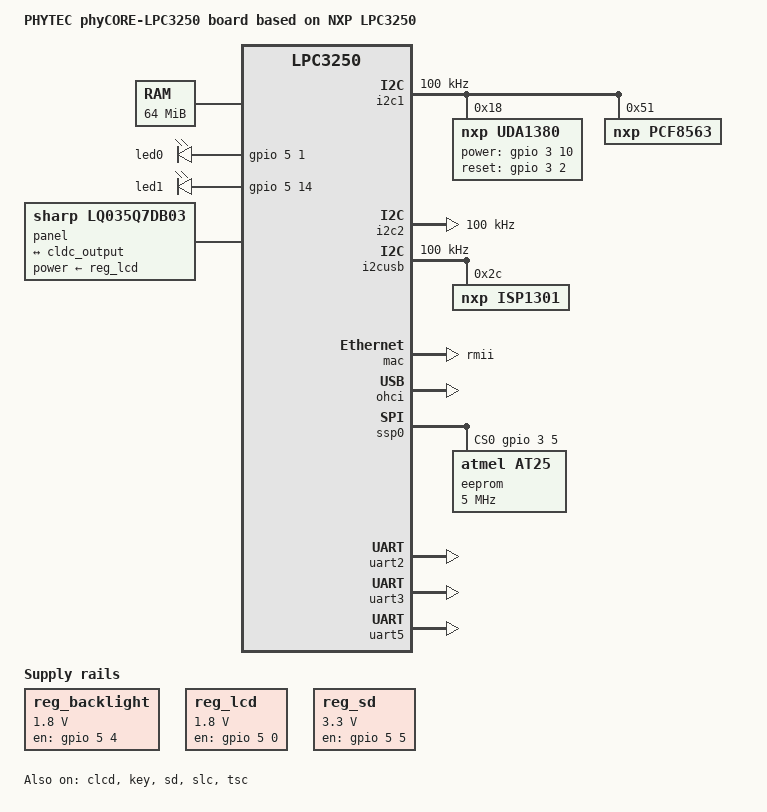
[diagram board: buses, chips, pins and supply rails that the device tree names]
// SPDX-License-Identifier: GPL-2.0-or-later
/*
 * PHYTEC phyCORE-LPC3250 board
 *
 * Copyright (C) 2015-2019 Vladimir Zapolskiy <vz@mleia.com>
 * Copyright 2012 Roland Stigge <stigge@antcom.de>
 */

/dts-v1/;
#include "lpc32xx.dtsi"

/ {
	model = "PHYTEC phyCORE-LPC3250 board based on NXP LPC3250";
	compatible = "phytec,phy3250", "nxp,lpc3250";

	memory@80000000 {
		device_type = "memory";
		reg = <0x80000000 0x4000000>;
	};

	leds {
		compatible = "gpio-leds";

		led0 { /* red */
			gpios = <&gpio 5 1 0>; /* GPO_P3 1, GPIO 80, active high */
			default-state = "off";
		};

		led1 { /* green */
			gpios = <&gpio 5 14 0>; /* GPO_P3 14, GPIO 93, active high */
			linux,default-trigger = "heartbeat";
		};
	};

	panel: panel {
		compatible = "sharp,lq035q7db03";
		power-supply = <&reg_lcd>;

		port {
			panel_input: endpoint {
				remote-endpoint = <&cldc_output>;
			};
		};
	};

	reg_backlight: regulator-backlight {
		compatible = "regulator-fixed";
		regulator-name = "backlight";
		regulator-min-microvolt = <1800000>;
		regulator-max-microvolt = <1800000>;
		gpio = <&gpio 5 4 0>;
		enable-active-high;
		regulator-boot-on;
	};

	reg_lcd: regulator-lcd {
		compatible = "regulator-fixed";
		regulator-name = "lcd";
		regulator-min-microvolt = <1800000>;
		regulator-max-microvolt = <1800000>;
		gpio = <&gpio 5 0 0>;
		enable-active-high;
		regulator-boot-on;
	};

	reg_sd: regulator-sd {
		compatible = "regulator-fixed";
		regulator-name = "sd";
		regulator-min-microvolt = <3300000>;
		regulator-max-microvolt = <3300000>;
		gpio = <&gpio 5 5 0>;
		enable-active-high;
		regulator-boot-on;
	};
};

&clcd {
	max-memory-bandwidth = <18710000>;
	status = "okay";

	port {
		cldc_output: endpoint {
			remote-endpoint = <&panel_input>;
			arm,pl11x,tft-r0g0b0-pads = <0 8 16>;
		};
	};
};

&i2c1 {
	clock-frequency = <100000>;

	uda1380: uda1380@18 {
		compatible = "nxp,uda1380";
		reg = <0x18>;
		power-gpio = <&gpio 3 10 0>;
		reset-gpio = <&gpio 3 2 0>;
		dac-clk = "wspll";
	};

	pcf8563: rtc@51 {
		compatible = "nxp,pcf8563";
		reg = <0x51>;
	};
};

&i2c2 {
	clock-frequency = <100000>;
};

&i2cusb {
	clock-frequency = <100000>;

	isp1301: usb-transceiver@2c {
		compatible = "nxp,isp1301";
		reg = <0x2c>;
	};
};

&key {
	keypad,num-rows = <1>;
	keypad,num-columns = <1>;
	nxp,debounce-delay-ms = <3>;
	nxp,scan-delay-ms = <34>;
	linux,keymap = <0x00000002>;
	status = "okay";
};

&mac {
	phy-mode = "rmii";
	use-iram;
	status = "okay";
};

/* Here, choose exactly one from: ohci, usbd */
&ohci /* &usbd */ {
	transceiver = <&isp1301>;
	status = "okay";
};

&sd {
	wp-gpios = <&gpio 3 0 0>;
	cd-gpios = <&gpio 3 1 0>;
	cd-inverted;
	bus-width = <4>;
	vmmc-supply = <&reg_sd>;
	status = "okay";
};

/* 64MB Flash via SLC NAND controller */
&slc {
	status = "okay";

	nxp,wdr-clks = <14>;
	nxp,wwidth = <40000000>;
	nxp,whold = <100000000>;
	nxp,wsetup = <100000000>;
	nxp,rdr-clks = <14>;
	nxp,rwidth = <40000000>;
	nxp,rhold = <66666666>;
	nxp,rsetup = <100000000>;
	nand-on-flash-bbt;
	gpios = <&gpio 5 19 1>; /* GPO_P3 19, active low */

	partitions {
		compatible = "fixed-partitions";
		#address-cells = <1>;
		#size-cells = <1>;

		mtd0@0 {
			label = "phy3250-boot";
			reg = <0x00000000 0x00064000>;
			read-only;
		};

		mtd1@64000 {
			label = "phy3250-uboot";
			reg = <0x00064000 0x00190000>;
			read-only;
		};

		mtd2@1f4000 {
			label = "phy3250-ubt-prms";
			reg = <0x001f4000 0x00010000>;
		};

		mtd3@204000 {
			label = "phy3250-kernel";
			reg = <0x00204000 0x00400000>;
		};

		mtd4@604000 {
			label = "phy3250-rootfs";
			reg = <0x00604000 0x039fc000>;
		};
	};
};

&ssp0 {
	num-cs = <1>;
	cs-gpios = <&gpio 3 5 0>;
	status = "okay";

	eeprom: at25@0 {
		compatible = "atmel,at25";
		reg = <0>;
		spi-max-frequency = <5000000>;

		pl022,interface = <0>;
		pl022,com-mode = <0>;
		pl022,rx-level-trig = <1>;
		pl022,tx-level-trig = <1>;
		pl022,ctrl-len = <11>;
		pl022,wait-state = <0>;
		pl022,duplex = <0>;

		at25,byte-len = <0x8000>;
		at25,addr-mode = <2>;
		at25,page-size = <64>;
	};
};

&tsc {
	status = "okay";
};

&uart2 {
	status = "okay";
};

&uart3 {
	status = "okay";
};

&uart5 {
	status = "okay";
};
